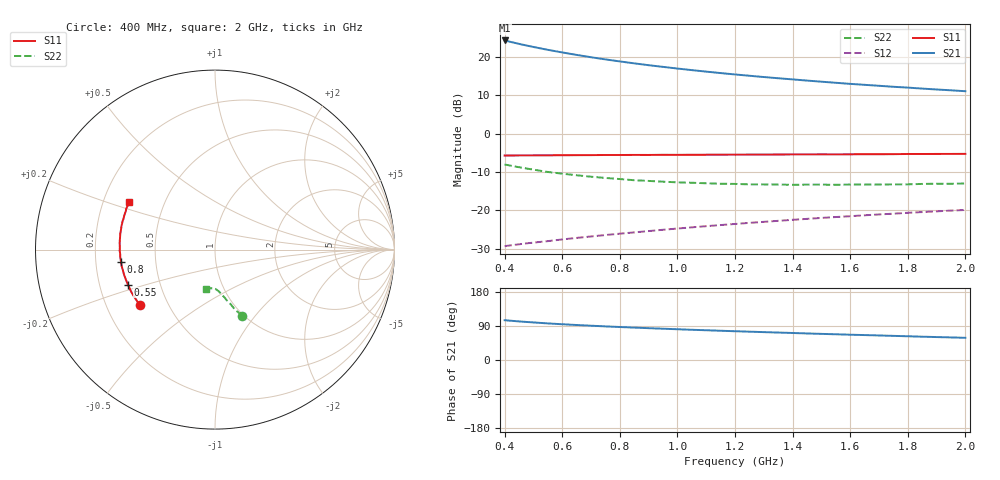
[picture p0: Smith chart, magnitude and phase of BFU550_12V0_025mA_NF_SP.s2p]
! Filename:  P:\Prog\Test\Noise\ATS_data\Testdata_Net\06 Compressed Noise after Statistics\BFU550_APG2013_43_D05_12p0V_025mA_NF_CM01_D.sf
! Date/Time: Fri 26/Apr/2013 13:07:25
! BFU550_APG2013_43_D05_12p0V_1to35mA_NF_CM01_Bias7_R.sf
! Noise Parameter Data File
! BFU550_APG2013_43_D05_12p0V_1to35mA_NF_CM01
! Date/time: Thu Apr 25 18:42:45 2013
! VAR V_out= 12.001000
! VAR I_out= 24.990000
! VAR V_in= 0.771400
! VAR I_in= 0.241650
! Device data file deembeded for feedlines and parallel
! Original file: \06 Compressed Noise after Statistics\BFU550_APG2013_43_D05_12p0V_025mA_NF_CM01_R.sf
! Feed-files: PR047V01_250413_Feed1.s2p, PR047V01_250413_Feed2.s2p
! Parallel-file: PR047V01_250413_Par.s2p
# MHz S MA R 50
!  Freq-MHz  S11-mag  S11-arg  S21-mag  S21-arg  S12-mag  S12-arg  S22-mag  S22-arg
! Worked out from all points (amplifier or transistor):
!   37 points, 400 MHz to 2 GHz, reference 50 ohm
!   highest |S21| = 24.4 dB at 400 MHz (marker M1)
!   |S21| within 3 dB of that: start of sweep to 590.7 MHz
!   unconditionally stable (mu >= 1): 1.318 GHz to end of sweep
!   at 500 MHz: K = 0.71, MSG = 25.6 dB, |S12| = -28.4 dB
!   at 1.1 GHz: K = 0.96, MSG = 20.2 dB, |S12| = -24.1 dB
!   at 2 GHz: K = 1.05, MAG = 14.1 dB, |S12| = -19.9 dB
!   lowest NFmin = 1.14 dB at 600 MHz
!   S11 on the Smith chart (normalised r, x): 400 MHz: 0.35, -0.29; 550 MHz: 0.32, -0.17; 800 MHz: 0.31, -0.06; 2 GHz: 0.31, +0.24
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400  0.5198 -143.8  16.55 105.0  0.03403 51.5  0.3969 -67.7
433  0.5204 -147.5  15.45 102.9  0.03536 51.7  0.3755 -69.5
460  0.5214 -150.2  14.65 101.3  0.03639 51.8  0.3609 -70.7
480  0.5226 -152.1  14.12 100.2  0.03717 52.0  0.3497 -71.6
500  0.5227 -153.9  13.61 99.1  0.03787 52.2  0.3402 -72.4
550  0.5231 -158.2  12.49 96.5  0.03961 52.9  0.317 -74.0
600  0.5242 -161.6  11.55 94.4  0.04167 53.4  0.3012 -75.7
650  0.5257 -164.8  10.71 92.3  0.04364 53.9  0.2871 -77.2
700  0.5261 -167.6  9.995 90.5  0.04557 54.5  0.2748 -78.3
750  0.5282 -170.4  9.368 88.7  0.04757 55.0  0.265 -79.7
800  0.5281 -172.7  8.813 87.1  0.04954 55.5  0.2561 -81.0
850  0.5294 -175.0  8.314 85.5  0.05151 56.0  0.2473 -82.0
900  0.5289 -177.3  7.866 84.0  0.05359 56.4  0.2421 -83.2
950  0.5312 -179.2  7.478 82.6  0.05572 56.8  0.2368 -84.2
1050  0.5318 176.8  6.784 79.8  0.05994 57.4  0.2292 -86.2
1150  0.5331 173.5  6.207 77.2  0.06422 57.8  0.2226 -88.0
1200  0.5341 171.7  5.955 75.9  0.06636 57.9  0.2213 -89.0
1350  0.5359 167.3  5.314 72.4  0.07292 58.3  0.2173 -91.7
1500  0.5391 162.9  4.79 68.9  0.07958 58.2  0.2167 -94.4
1600  0.5393 160.0  4.486 66.7  0.08382 58.1  0.2171 -96.1
1750  0.5417 156.3  4.11 63.7  0.09045 57.8  0.2184 -98.9
2000  0.5465 150.7  3.596 58.6  0.1011 57.1  0.2242 -103.2
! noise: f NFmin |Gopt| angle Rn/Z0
400  1.175  0.2836  -176.9  0.0802
460  1.147  0.2865  -174.4  0.0794
600  1.14  0.2947  -173.2  0.0781
800  1.208  0.3152  -169.7  0.075
1000  1.234  0.325  -167.2  0.0747
1200  1.26  0.3255  -164.1  0.0798
1400  1.301  0.3367  -162.8  0.0788
1600  1.35  0.3347  -157.4  0.0899
1800  1.356  0.3495  -155.1  0.0895
2000  1.411  0.3509  -151.5  0.1016
